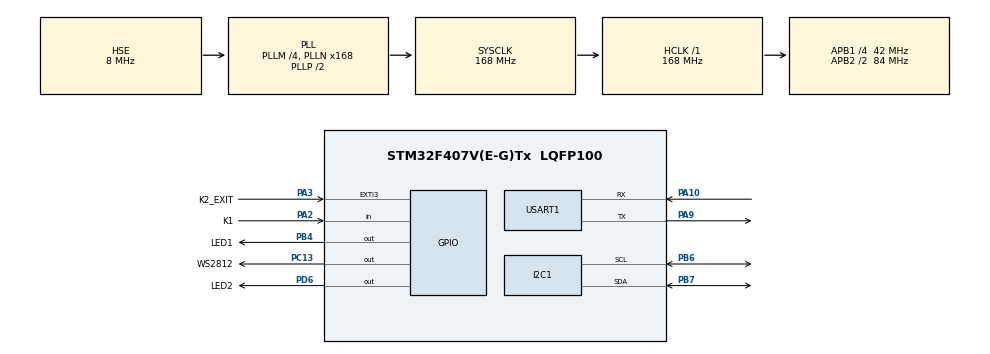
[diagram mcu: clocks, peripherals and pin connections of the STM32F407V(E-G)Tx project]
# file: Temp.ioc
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Mcu.Family=STM32F4
Mcu.Name=STM32F407V(E-G)Tx
Mcu.Package=LQFP100
NVIC.EXTI3_IRQn=true\:0\:0\:false\:false\:true\:true\:true\:true
NVIC.PriorityGroup=NVIC_PRIORITYGROUP_4
NVIC.USART1_IRQn=true\:0\:0\:false\:false\:true\:true\:true\:true
PA10.Mode=Asynchronous
PA10.Signal=USART1_RX
PA13.Mode=Serial_Wire
PA13.Signal=SYS_JTMS-SWDIO
PA14.Mode=Serial_Wire
PA14.Signal=SYS_JTCK-SWCLK
PA2.GPIO_Label=K1
PA2.GPIO_Mode=GPIO_MODE_INPUT
PA2.Signal=GPIO_Input
PA3.GPIO_Label=K2_EXIT
PA3.GPIO_ModeDefaultEXTI=GPIO_MODE_IT_FALLING
PA3.Signal=GPXTI3
PA9.Mode=Asynchronous
PA9.Signal=USART1_TX
PB4.GPIO_Label=LED1
PB4.GPIO_ModeDefaultOutputPP=GPIO_MODE_OUTPUT_PP
PB4.GPIO_PuPd=GPIO_PULLUP
PB4.GPIO_Speed=GPIO_SPEED_FREQ_HIGH
PB4.PinState=GPIO_PIN_SET
PB4.Signal=GPIO_Output
PB6.Mode=I2C
PB6.Signal=I2C1_SCL
PB7.Mode=I2C
PB7.Signal=I2C1_SDA
PC13-ANTI_TAMP.GPIO_Label=WS2812
PC13-ANTI_TAMP.GPIO_PuPd=GPIO_PULLUP
PC13-ANTI_TAMP.GPIO_Speed=GPIO_SPEED_FREQ_LOW
PC13-ANTI_TAMP.PinState=GPIO_PIN_SET
PC13-ANTI_TAMP.Signal=GPIO_Output
PC14-OSC32_IN.Mode=LSE-External-Oscillator
PC14-OSC32_IN.Signal=RCC_OSC32_IN
PC15-OSC32_OUT.Mode=LSE-External-Oscillator
PC15-OSC32_OUT.Signal=RCC_OSC32_OUT
PD6.GPIO_Label=LED2
PD6.GPIO_ModeDefaultOutputPP=GPIO_MODE_OUTPUT_PP
PD6.GPIO_PuPd=GPIO_PULLUP
PD6.GPIO_Speed=GPIO_SPEED_FREQ_HIGH
PD6.PinState=GPIO_PIN_SET
PD6.Signal=GPIO_Output
PH0-OSC_IN.Mode=HSE-External-Oscillator
PH0-OSC_IN.Signal=RCC_OSC_IN
PH1-OSC_OUT.Mode=HSE-External-Oscillator
PH1-OSC_OUT.Signal=RCC_OSC_OUT
ProjectManager.HeapSize=0x200
ProjectManager.StackSize=0x400
ProjectManager.TargetToolchain=MDK-ARM V5.32
RCC.48MHZClocksFreq_Value=84000000
RCC.AHBFreq_Value=168000000
RCC.APB1CLKDivider=RCC_HCLK_DIV4
RCC.APB1Freq_Value=42000000
RCC.APB1TimFreq_Value=84000000
RCC.APB2CLKDivider=RCC_HCLK_DIV2
RCC.APB2Freq_Value=84000000
RCC.APB2TimFreq_Value=168000000
RCC.CortexFreq_Value=168000000
RCC.HCLKFreq_Value=168000000
RCC.HSE_VALUE=8000000
RCC.HSI_VALUE=16000000
RCC.PLLM=4
RCC.PLLN=168
RCC.PLLSourceVirtual=RCC_PLLSOURCE_HSE
RCC.RCC_MCO1Source=RCC_MCO1SOURCE_HSE
RCC.RCC_MCODiv2=RCC_MCODIV_5
RCC.SYSCLKFreq_VALUE=168000000
RCC.SYSCLKSource=RCC_SYSCLKSOURCE_PLLCLK
RCC.VCOOutputFreq_Value=336000000
USART1.VirtualMode=VM_ASYNC
board=custom

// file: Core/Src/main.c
/* USER CODE BEGIN Header */
/**
  ******************************************************************************
  * @file           : main.c
  * @brief          : Main program body
  ******************************************************************************
  * @attention
  *
  * Copyright (c) 2025 STMicroelectronics.
  * All rights reserved.
  *
  * This software is licensed under terms that can be found in the LICENSE file
  * in the root directory of this software component.
  * If no LICENSE file comes with this software, it is provided AS-IS.
  *
  ******************************************************************************
  */
/* USER CODE END Header */
#include "main.h"
#include "i2c.h"
#include "usart.h"
#include "gpio.h"

/* USER CODE BEGIN Includes */
#include "stdio.h"//printf函数�?
/* USER CODE END Includes */

/* USER CODE BEGIN PTD */
uint8_t rx_buff[100];  //接收缓存
uint8_t rx_done = 0; //接收完成标志
uint8_t rx_cnt = 0;//接收数据长度

//IIC全局变量
#define ADDR_WR_AT24CXX 0xA0 //写器件地址
#define ADDR_RD_AT24CXX 0xA1 //读器件地址
#define BuffSize 256
uint8_t Wr_buff[BuffSize],Rd_buff[BuffSize];//读写数据buff
/* USER CODE END PTD */

/* USER CODE BEGIN PD */
//EEPROM测试
void E2PROM_I2C_Test(void)
{
    HAL_StatusTypeDef error;
    uint8_t length = 8 ;
    for(uint16_t i = 0;i<256;i++) Wr_buff[i] = i;
    //AT24Cxx地址00开始写入8Byte数据
    error = HAL_I2C_Mem_Write(&hi2c1,ADDR_WR_AT24CXX,0x00,I2C_MEMADD_SIZE_16BIT,Wr_buff,length,1000);
    if(error == HAL_OK) printf("e2prom write done!\r\n");
    else                printf("e2prom write fail!\r\n");
    HAL_Delay(1000);
    //从地址0x00开始读8Byte数据，并打印。
    error = HAL_I2C_Mem_Read(&hi2c1,ADDR_RD_AT24CXX,0x00,I2C_MEMADD_SIZE_16BIT,Rd_buff,length,1000);
    if(error == HAL_OK)
    {
        printf("e2prom read done!\r\n");
        for(uint16_t i=0;i<length;i++)
        {
            printf("0x%02x ",Rd_buff[i]);
        }
        printf("\r\n");
    }
    else  printf("e2prom write fail!\r\n");
}
/* USER CODE END PD */

void SystemClock_Config(void);

int main(void)
{

  /* MCU Configuration--------------------------------------------------------*/

  /* Reset of all peripherals, Initializes the Flash interface and the Systick. */
  HAL_Init();

  /* Configure the system clock */
  SystemClock_Config();

  /* Initialize all configured peripherals */
  MX_GPIO_Init();
  MX_USART1_UART_Init();
  MX_I2C1_Init();
  /* USER CODE BEGIN 2 */
	E2PROM_I2C_Test();
  /* USER CODE END 2 */

  /* Infinite loop */
  while (1)
  {

    /* USER CODE BEGIN 3 */
    if(rx_done == 1)//判读是否接收完成
    {
        rx_done = 0;//清除接收标志
        //数据处理，打印接收长度�?�接收的数据
        printf("length of rx data: %d!\r\n",rx_cnt);
        for(int i = 0;i<rx_cnt;i++) printf("%c",rx_buff[i]);
        printf("\r\n");

        rx_cnt =0;//清除接收长度
    }
    HAL_GPIO_TogglePin(LED1_GPIO_Port, LED1_Pin); // 切换亮�?�灭状�?�，添加此语句防止优�?
  }
  /* USER CODE END 3 */
}

void SystemClock_Config(void)
{
  RCC_OscInitTypeDef RCC_OscInitStruct = {0};
  RCC_ClkInitTypeDef RCC_ClkInitStruct = {0};

  /** Configure the main internal regulator output voltage
  */
  __HAL_RCC_PWR_CLK_ENABLE();
  __HAL_PWR_VOLTAGESCALING_CONFIG(PWR_REGULATOR_VOLTAGE_SCALE1);

  /** Initializes the RCC Oscillators according to the specified parameters
  * in the RCC_OscInitTypeDef structure.
  */
  RCC_OscInitStruct.OscillatorType = RCC_OSCILLATORTYPE_HSE;
  RCC_OscInitStruct.HSEState = RCC_HSE_ON;
  RCC_OscInitStruct.PLL.PLLState = RCC_PLL_ON;
  RCC_OscInitStruct.PLL.PLLSource = RCC_PLLSOURCE_HSE;
  RCC_OscInitStruct.PLL.PLLM = 4;
  RCC_OscInitStruct.PLL.PLLN = 168;
  RCC_OscInitStruct.PLL.PLLP = RCC_PLLP_DIV2;
  RCC_OscInitStruct.PLL.PLLQ = 4;
  if (HAL_RCC_OscConfig(&RCC_OscInitStruct) != HAL_OK)
  {
    Error_Handler();
  }

  /** Initializes the CPU, AHB and APB buses clocks
  */
  RCC_ClkInitStruct.ClockType = RCC_CLOCKTYPE_HCLK|RCC_CLOCKTYPE_SYSCLK
                              |RCC_CLOCKTYPE_PCLK1|RCC_CLOCKTYPE_PCLK2;
  RCC_ClkInitStruct.SYSCLKSource = RCC_SYSCLKSOURCE_PLLCLK;
  RCC_ClkInitStruct.AHBCLKDivider = RCC_SYSCLK_DIV1;
  RCC_ClkInitStruct.APB1CLKDivider = RCC_HCLK_DIV4;
  RCC_ClkInitStruct.APB2CLKDivider = RCC_HCLK_DIV2;

  if (HAL_RCC_ClockConfig(&RCC_ClkInitStruct, FLASH_LATENCY_5) != HAL_OK)
  {
    Error_Handler();
  }
}

/* USER CODE BEGIN 4 */
#ifdef __GNUC__
#define PUTCHAR_PROTOTYPE int __io_putchar(int ch)
#else
#define PUTCHAR_PROTOTYPE int fputc(int ch,FILE *f)
#endif /* __GNUC__ */
//重定向printf函数
PUTCHAR_PROTOTYPE
{
    HAL_UART_Transmit(&huart1,(uint8_t *)&ch,1,HAL_MAX_DELAY);//输出指向串口USART1
    return ch;
}
//重写GPIO中断处理函数
void HAL_GPIO_EXTI_Callback(uint16_t GPIO_Pin)
{
    //翻转LED1
    HAL_GPIO_TogglePin(LED1_GPIO_Port,LED1_Pin);
    //打印中断处理信息
    printf("K2 ExTi interrput!\r\n");
}
/* USER CODE END 4 */

void Error_Handler(void)
{
  __disable_irq();
  while (1)
  {
  }
}
